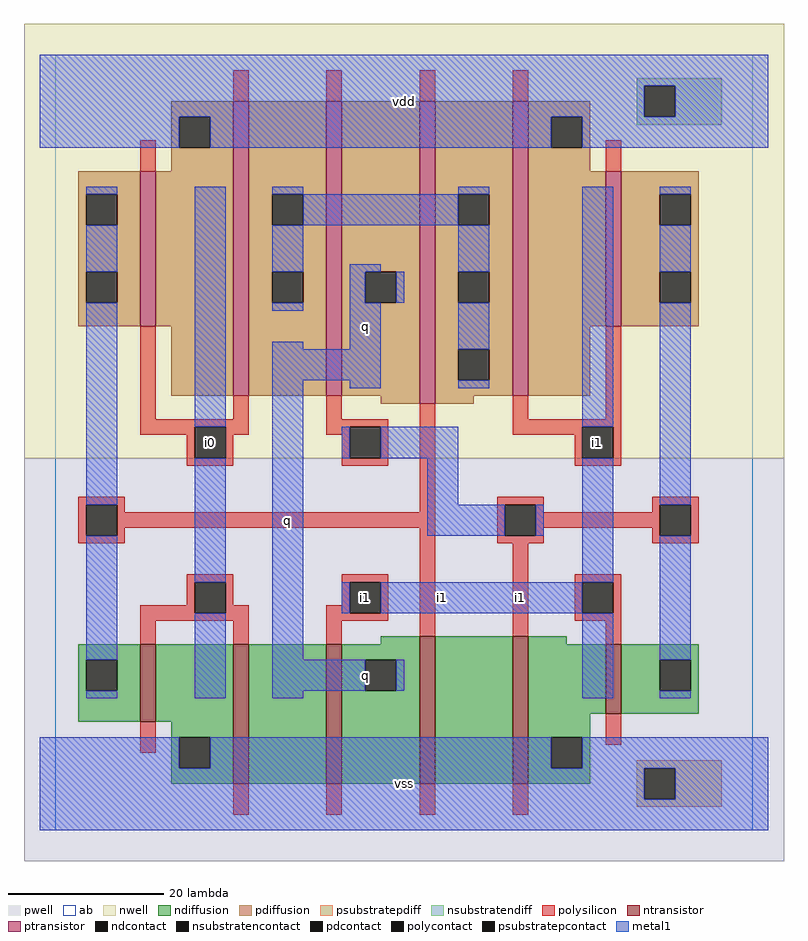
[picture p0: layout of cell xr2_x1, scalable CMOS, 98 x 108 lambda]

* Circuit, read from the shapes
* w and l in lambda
.subckt xr2_x1 i0 i1 q vdd vss
M1 vss i0 n1 vss nfet w=10 l=2
M2 n2 i0 vss vss nfet w=18 l=2
M3 q i1 n2 vss nfet w=18 l=2
M4 n3 n1 q vss nfet w=19 l=2
M5 vss n4 n3 vss nfet w=19 l=2
M6 n4 i1 vss vss nfet w=9 l=2
M7 vdd i0 n1 vdd pfet w=20 l=2
M8 n5 i0 vdd vdd pfet w=38 l=2
M9 q n4 n5 vdd pfet w=38 l=2
M10 n5 n1 q vdd pfet w=39 l=2
M11 vdd i1 n5 vdd pfet w=38 l=2
M12 n4 i1 vdd vdd pfet w=20 l=2
.ends

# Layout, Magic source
magic
tech scmos
<< ab >>
rect 0 0 90 100
<< pwell >>
rect -4 -4 94 48
<< nwell >>
rect -4 48 94 104
<< polysilicon >>
rect 23 94 25 98
rect 35 94 37 98
rect 47 94 49 98
rect 59 94 61 98
rect 11 85 13 89
rect 11 53 13 65
rect 23 53 25 56
rect 11 52 25 53
rect 11 51 18 52
rect 17 48 18 51
rect 22 51 25 52
rect 35 53 37 56
rect 71 85 73 89
rect 35 52 43 53
rect 35 51 38 52
rect 22 48 23 51
rect 17 47 23 48
rect 37 48 38 51
rect 42 48 43 52
rect 37 47 43 48
rect 3 42 9 43
rect 3 38 4 42
rect 8 41 9 42
rect 47 41 49 55
rect 59 53 61 56
rect 71 53 73 65
rect 59 52 73 53
rect 59 51 68 52
rect 67 48 68 51
rect 72 48 73 52
rect 67 47 73 48
rect 8 39 49 41
rect 8 38 9 39
rect 3 37 9 38
rect 17 32 23 33
rect 17 29 18 32
rect 11 28 18 29
rect 22 29 23 32
rect 37 32 43 33
rect 37 29 38 32
rect 22 28 25 29
rect 11 27 25 28
rect 11 24 13 27
rect 23 24 25 27
rect 35 28 38 29
rect 42 28 43 32
rect 35 27 43 28
rect 35 24 37 27
rect 47 25 49 39
rect 57 42 63 43
rect 57 38 58 42
rect 62 41 63 42
rect 77 42 83 43
rect 77 41 78 42
rect 62 39 78 41
rect 62 38 63 39
rect 57 37 63 38
rect 77 38 78 39
rect 82 38 83 42
rect 77 37 83 38
rect 59 25 61 37
rect 67 32 73 33
rect 67 28 68 32
rect 72 28 73 32
rect 67 27 73 28
rect 11 10 13 14
rect 71 24 73 27
rect 71 11 73 15
rect 23 2 25 6
rect 35 2 37 6
rect 47 2 49 6
rect 59 2 61 6
<< ndiffusion >>
rect 42 24 47 25
rect 3 22 11 24
rect 3 18 4 22
rect 8 18 11 22
rect 3 14 11 18
rect 13 14 23 24
rect 15 12 23 14
rect 15 8 16 12
rect 20 8 23 12
rect 15 6 23 8
rect 25 6 35 24
rect 37 22 47 24
rect 37 18 40 22
rect 44 18 47 22
rect 37 6 47 18
rect 49 6 59 25
rect 61 24 66 25
rect 61 15 71 24
rect 73 22 83 24
rect 73 18 78 22
rect 82 18 83 22
rect 73 15 83 18
rect 61 12 69 15
rect 61 8 64 12
rect 68 8 69 12
rect 61 6 69 8
<< pdiffusion >>
rect 15 92 23 94
rect 15 88 16 92
rect 20 88 23 92
rect 15 85 23 88
rect 3 82 11 85
rect 3 78 4 82
rect 8 78 11 82
rect 3 72 11 78
rect 3 68 4 72
rect 8 68 11 72
rect 3 65 11 68
rect 13 65 23 85
rect 15 56 23 65
rect 25 82 35 94
rect 25 78 28 82
rect 32 78 35 82
rect 25 72 35 78
rect 25 68 28 72
rect 32 68 35 72
rect 25 56 35 68
rect 37 72 47 94
rect 37 68 40 72
rect 44 68 47 72
rect 37 56 47 68
rect 42 55 47 56
rect 49 82 59 94
rect 49 78 52 82
rect 56 78 59 82
rect 49 72 59 78
rect 49 68 52 72
rect 56 68 59 72
rect 49 62 59 68
rect 49 58 52 62
rect 56 58 59 62
rect 49 56 59 58
rect 61 92 69 94
rect 61 88 64 92
rect 68 88 69 92
rect 61 85 69 88
rect 61 65 71 85
rect 73 82 83 85
rect 73 78 78 82
rect 82 78 83 82
rect 73 72 83 78
rect 73 68 78 72
rect 82 68 83 72
rect 73 65 83 68
rect 61 56 69 65
rect 49 55 54 56
<< metal1 >>
rect -2 96 92 100
rect -2 92 76 96
rect 80 92 92 96
rect -2 88 16 92
rect 20 88 64 92
rect 68 88 92 92
rect 4 82 8 83
rect 4 72 8 78
rect 4 42 8 68
rect 4 22 8 38
rect 4 17 8 18
rect 18 52 22 83
rect 28 82 32 83
rect 52 82 56 83
rect 32 78 52 82
rect 28 72 32 78
rect 28 67 32 68
rect 38 72 42 73
rect 52 72 56 78
rect 38 68 40 72
rect 44 68 45 72
rect 18 32 22 48
rect 18 17 22 28
rect 28 62 32 63
rect 38 62 42 68
rect 28 58 42 62
rect 28 22 32 58
rect 38 57 42 58
rect 52 62 56 68
rect 52 57 56 58
rect 68 52 72 83
rect 37 48 38 52
rect 42 48 52 52
rect 48 42 52 48
rect 48 38 58 42
rect 62 38 63 42
rect 68 32 72 48
rect 37 28 38 32
rect 42 28 68 32
rect 28 18 40 22
rect 44 18 45 22
rect 28 17 32 18
rect 68 17 72 28
rect 78 82 82 83
rect 78 72 82 78
rect 78 42 82 68
rect 78 22 82 38
rect 78 17 82 18
rect -2 8 16 12
rect 20 8 64 12
rect 68 8 92 12
rect -2 4 76 8
rect 80 4 92 8
rect -2 0 92 4
<< ntransistor >>
rect 11 14 13 24
rect 23 6 25 24
rect 35 6 37 24
rect 47 6 49 25
rect 59 6 61 25
rect 71 15 73 24
<< ptransistor >>
rect 11 65 13 85
rect 23 56 25 94
rect 35 56 37 94
rect 47 55 49 94
rect 59 56 61 94
rect 71 65 73 85
<< polycontact >>
rect 18 48 22 52
rect 38 48 42 52
rect 4 38 8 42
rect 68 48 72 52
rect 18 28 22 32
rect 38 28 42 32
rect 58 38 62 42
rect 78 38 82 42
rect 68 28 72 32
<< ndcontact >>
rect 4 18 8 22
rect 16 8 20 12
rect 40 18 44 22
rect 78 18 82 22
rect 64 8 68 12
<< pdcontact >>
rect 16 88 20 92
rect 4 78 8 82
rect 4 68 8 72
rect 28 78 32 82
rect 28 68 32 72
rect 40 68 44 72
rect 52 78 56 82
rect 52 68 56 72
rect 52 58 56 62
rect 64 88 68 92
rect 78 78 82 82
rect 78 68 82 72
<< psubstratepcontact >>
rect 76 4 80 8
<< nsubstratencontact >>
rect 76 92 80 96
<< psubstratepdiff >>
rect 75 8 86 9
rect 75 4 76 8
rect 80 4 86 8
rect 75 3 86 4
<< nsubstratendiff >>
rect 75 96 86 97
rect 75 92 76 96
rect 80 92 86 96
rect 75 91 86 92
<< labels >>
rlabel metal1 30 40 30 40 6 q
rlabel polycontact 20 50 20 50 6 i0
rlabel metal1 45 6 45 6 6 vss
rlabel metal1 40 20 40 20 6 q
rlabel metal1 50 30 50 30 6 i1
rlabel polycontact 40 30 40 30 6 i1
rlabel metal1 40 65 40 65 6 q
rlabel metal1 45 94 45 94 6 vdd
rlabel metal1 60 30 60 30 6 i1
rlabel polycontact 70 50 70 50 6 i1
<< end >>
